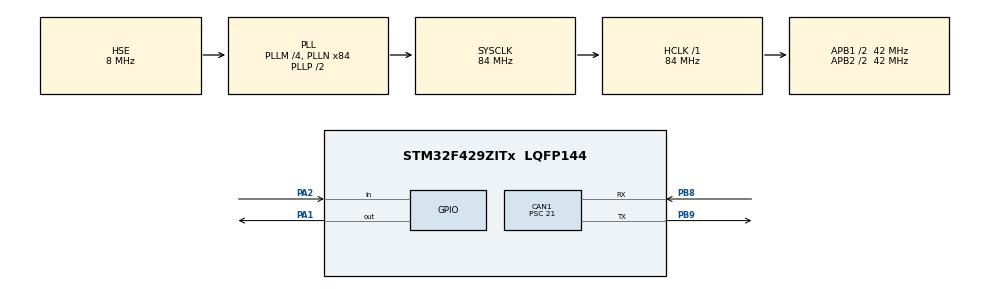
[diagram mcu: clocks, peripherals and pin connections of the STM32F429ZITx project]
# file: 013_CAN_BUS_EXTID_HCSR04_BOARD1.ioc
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CAN1.BS1=CAN_BS1_13TQ
CAN1.BS2=CAN_BS2_2TQ
CAN1.CalculateBaudRate=125000
CAN1.CalculateTimeBit=8000
CAN1.CalculateTimeQuantum=500.0
CAN1.Prescaler=21
Mcu.Family=STM32F4
Mcu.Name=STM32F429ZITx
Mcu.Package=LQFP144
NVIC.PriorityGroup=NVIC_PRIORITYGROUP_0
PA1.Signal=GPIO_Output
PA2.Signal=GPIO_Input
PB8.Mode=CAN_Activate
PB8.Signal=CAN1_RX
PB9.Mode=CAN_Activate
PB9.Signal=CAN1_TX
PH0/OSC_IN.Mode=HSE-External-Oscillator
PH0/OSC_IN.Signal=RCC_OSC_IN
PH1/OSC_OUT.Mode=HSE-External-Oscillator
PH1/OSC_OUT.Signal=RCC_OSC_OUT
ProjectManager.HeapSize=0x200
ProjectManager.StackSize=0x400
ProjectManager.TargetToolchain=STM32CubeIDE
RCC.48MHZClocksFreq_Value=24000000
RCC.AHBFreq_Value=84000000
RCC.APB1CLKDivider=RCC_HCLK_DIV2
RCC.APB1Freq_Value=42000000
RCC.APB1TimFreq_Value=84000000
RCC.APB2CLKDivider=RCC_HCLK_DIV2
RCC.APB2Freq_Value=42000000
RCC.APB2TimFreq_Value=84000000
RCC.CortexFreq_Value=84000000
RCC.HCLKFreq_Value=84000000
RCC.HSE_VALUE=8000000
RCC.HSI_VALUE=16000000
RCC.LSE_VALUE=32768
RCC.PLLM=4
RCC.PLLN=84
RCC.PLLQ=7
RCC.PLLSourceVirtual=RCC_PLLSOURCE_HSE
RCC.SYSCLKFreq_VALUE=84000000
RCC.SYSCLKSource=RCC_SYSCLKSOURCE_PLLCLK
RCC.VCOOutputFreq_Value=168000000
board=STM32F429I-DISC1

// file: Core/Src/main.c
/* USER CODE BEGIN Header */
/**
  ******************************************************************************
  * @file           : main.c
  * @brief          : Main program body
  ******************************************************************************
  * @attention
  *
  * Copyright (c) 2023 STMicroelectronics.
  * All rights reserved.
  *
  * This software is licensed under terms that can be found in the LICENSE file
  * in the root directory of this software component.
  * If no LICENSE file comes with this software, it is provided AS-IS.
  *
  ******************************************************************************
  */
/* USER CODE END Header */
#include "main.h"

/* USER CODE BEGIN Includes */
#include "dwt_stm32_delay.h"
/* USER CODE END Includes */

CAN_HandleTypeDef hcan1;

/* USER CODE BEGIN PV */
uint32_t sensor_time;
uint32_t distance;
CAN_TxHeaderTypeDef pHeader;
uint32_t pTxMailbox;
/* USER CODE END PV */

void SystemClock_Config(void);
static void MX_GPIO_Init(void);
static void MX_CAN1_Init(void);
/* USER CODE BEGIN PFP */
uint32_t HCSR04_READ()
{
    uint32_t localtime = 0;

    HAL_GPIO_WritePin(GPIOA,GPIO_PIN_1,GPIO_PIN_SET); // START TRIGGER PIN
    DWT_Delay_us(10);
    HAL_GPIO_WritePin(GPIOA,GPIO_PIN_1,GPIO_PIN_SET);
    while(!(HAL_GPIO_ReadPin(GPIOA,GPIO_PIN_2)));

    while(HAL_GPIO_ReadPin(GPIOA,GPIO_PIN_2))
    {
    	localtime++;
    	DWT_Delay_us(1);
    }
   return localtime * 2;
}
/* USER CODE END PFP */

int main(void)
{

  /* MCU Configuration--------------------------------------------------------*/

  /* Reset of all peripherals, Initializes the Flash interface and the Systick. */
  HAL_Init();

  /* Configure the system clock */
  SystemClock_Config();

  /* Initialize all configured peripherals */
  MX_GPIO_Init();
  MX_CAN1_Init();
  /* USER CODE BEGIN 2 */
  DWT_Delay_Init();
  /* USER CODE END 2 */
  pHeader.DLC = 1;
  pHeader.ExtId = 0xAB12FFFF;
  pHeader.IDE = CAN_ID_EXT;
  pHeader.RTR = CAN_RTR_DATA;

  HAL_CAN_Start(&hcan1);
  /* Infinite loop */
  while (1)
  {

    /* USER CODE BEGIN 3 */
	 sensor_time = HCSR04_READ();
	 distance = sensor_time * .035 / 2 ; // DISTANCE IN CM

	 HAL_CAN_AddTxMessage(&hcan1, &pHeader,(uint8_t *)distance, &pTxMailbox);
  }
  /* USER CODE END 3 */
}

void SystemClock_Config(void)
{
  RCC_OscInitTypeDef RCC_OscInitStruct = {0};
  RCC_ClkInitTypeDef RCC_ClkInitStruct = {0};

  /** Configure the main internal regulator output voltage
  */
  __HAL_RCC_PWR_CLK_ENABLE();
  __HAL_PWR_VOLTAGESCALING_CONFIG(PWR_REGULATOR_VOLTAGE_SCALE3);

  /** Initializes the RCC Oscillators according to the specified parameters
  * in the RCC_OscInitTypeDef structure.
  */
  RCC_OscInitStruct.OscillatorType = RCC_OSCILLATORTYPE_HSE;
  RCC_OscInitStruct.HSEState = RCC_HSE_ON;
  RCC_OscInitStruct.PLL.PLLState = RCC_PLL_ON;
  RCC_OscInitStruct.PLL.PLLSource = RCC_PLLSOURCE_HSE;
  RCC_OscInitStruct.PLL.PLLM = 4;
  RCC_OscInitStruct.PLL.PLLN = 84;
  RCC_OscInitStruct.PLL.PLLP = RCC_PLLP_DIV2;
  RCC_OscInitStruct.PLL.PLLQ = 7;
  if (HAL_RCC_OscConfig(&RCC_OscInitStruct) != HAL_OK)
  {
    Error_Handler();
  }

  /** Initializes the CPU, AHB and APB buses clocks
  */
  RCC_ClkInitStruct.ClockType = RCC_CLOCKTYPE_HCLK|RCC_CLOCKTYPE_SYSCLK
                              |RCC_CLOCKTYPE_PCLK1|RCC_CLOCKTYPE_PCLK2;
  RCC_ClkInitStruct.SYSCLKSource = RCC_SYSCLKSOURCE_PLLCLK;
  RCC_ClkInitStruct.AHBCLKDivider = RCC_SYSCLK_DIV1;
  RCC_ClkInitStruct.APB1CLKDivider = RCC_HCLK_DIV2;
  RCC_ClkInitStruct.APB2CLKDivider = RCC_HCLK_DIV2;

  if (HAL_RCC_ClockConfig(&RCC_ClkInitStruct, FLASH_LATENCY_2) != HAL_OK)
  {
    Error_Handler();
  }
}

static void MX_CAN1_Init(void)
{

  hcan1.Instance = CAN1;
  hcan1.Init.Prescaler = 21;
  hcan1.Init.Mode = CAN_MODE_NORMAL;
  hcan1.Init.SyncJumpWidth = CAN_SJW_1TQ;
  hcan1.Init.TimeSeg1 = CAN_BS1_13TQ;
  hcan1.Init.TimeSeg2 = CAN_BS2_2TQ;
  hcan1.Init.TimeTriggeredMode = DISABLE;
  hcan1.Init.AutoBusOff = DISABLE;
  hcan1.Init.AutoWakeUp = DISABLE;
  hcan1.Init.AutoRetransmission = DISABLE;
  hcan1.Init.ReceiveFifoLocked = DISABLE;
  hcan1.Init.TransmitFifoPriority = DISABLE;
  if (HAL_CAN_Init(&hcan1) != HAL_OK)
  {
    Error_Handler();
  }

}

static void MX_GPIO_Init(void)
{
  GPIO_InitTypeDef GPIO_InitStruct = {0};

  /* GPIO Ports Clock Enable */
  __HAL_RCC_GPIOH_CLK_ENABLE();
  __HAL_RCC_GPIOA_CLK_ENABLE();
  __HAL_RCC_GPIOB_CLK_ENABLE();

  /*Configure GPIO pin Output Level */
  HAL_GPIO_WritePin(GPIOA, GPIO_PIN_1, GPIO_PIN_RESET);

  /*Configure GPIO pin : PA1 */
  GPIO_InitStruct.Pin = GPIO_PIN_1;
  GPIO_InitStruct.Mode = GPIO_MODE_OUTPUT_PP;
  GPIO_InitStruct.Pull = GPIO_NOPULL;
  GPIO_InitStruct.Speed = GPIO_SPEED_FREQ_LOW;
  HAL_GPIO_Init(GPIOA, &GPIO_InitStruct);

  /*Configure GPIO pin : PA2 */
  GPIO_InitStruct.Pin = GPIO_PIN_2;
  GPIO_InitStruct.Mode = GPIO_MODE_INPUT;
  GPIO_InitStruct.Pull = GPIO_NOPULL;
  HAL_GPIO_Init(GPIOA, &GPIO_InitStruct);

}

void Error_Handler(void)
{
  __disable_irq();
  while (1)
  {
  }
}
